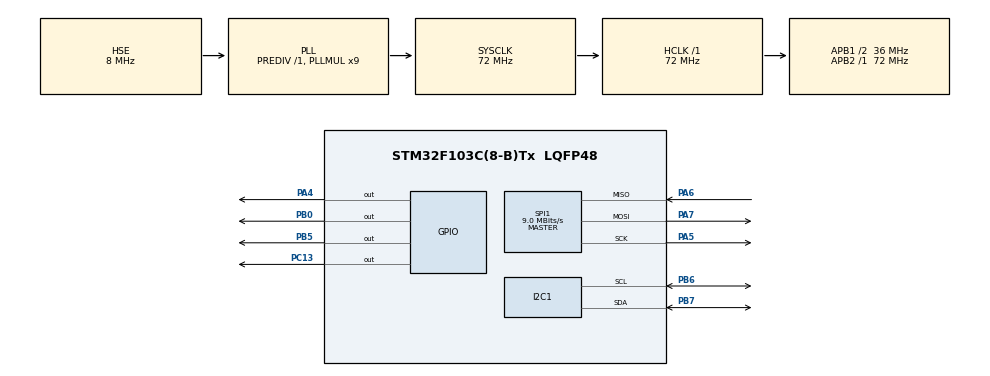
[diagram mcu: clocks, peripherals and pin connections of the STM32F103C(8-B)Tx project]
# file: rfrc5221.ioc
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Mcu.Family=STM32F1
Mcu.Name=STM32F103C(8-B)Tx
Mcu.Package=LQFP48
NVIC.PriorityGroup=NVIC_PRIORITYGROUP_4
PA13.Mode=Serial_Wire
PA13.Signal=SYS_JTMS-SWDIO
PA14.Mode=Serial_Wire
PA14.Signal=SYS_JTCK-SWCLK
PA4.GPIO_Speed=GPIO_SPEED_FREQ_HIGH
PA4.Signal=GPIO_Output
PA5.Mode=Full_Duplex_Master
PA5.Signal=SPI1_SCK
PA6.Mode=Full_Duplex_Master
PA6.Signal=SPI1_MISO
PA7.Mode=Full_Duplex_Master
PA7.Signal=SPI1_MOSI
PB0.GPIO_Speed=GPIO_SPEED_FREQ_HIGH
PB0.Signal=GPIO_Output
PB5.GPIO_Speed=GPIO_SPEED_FREQ_HIGH
PB5.Signal=GPIO_Output
PB6.Mode=I2C
PB6.Signal=I2C1_SCL
PB7.Mode=I2C
PB7.Signal=I2C1_SDA
PC13-TAMPER-RTC.GPIO_Speed=GPIO_SPEED_FREQ_HIGH
PC13-TAMPER-RTC.PinState=GPIO_PIN_SET
PC13-TAMPER-RTC.Signal=GPIO_Output
PD0-OSC_IN.Mode=HSE-External-Oscillator
PD0-OSC_IN.Signal=RCC_OSC_IN
PD1-OSC_OUT.Mode=HSE-External-Oscillator
PD1-OSC_OUT.Signal=RCC_OSC_OUT
ProjectManager.HeapSize=0x200
ProjectManager.StackSize=0x400
ProjectManager.TargetToolchain=STM32CubeIDE
RCC.AHBFreq_Value=72000000
RCC.APB1CLKDivider=RCC_HCLK_DIV2
RCC.APB1Freq_Value=36000000
RCC.APB1TimFreq_Value=72000000
RCC.APB2Freq_Value=72000000
RCC.APB2TimFreq_Value=72000000
RCC.HCLKFreq_Value=72000000
RCC.PLLMUL=RCC_PLL_MUL9
RCC.PLLSourceVirtual=RCC_PLLSOURCE_HSE
RCC.SYSCLKFreq_VALUE=72000000
RCC.SYSCLKSource=RCC_SYSCLKSOURCE_PLLCLK
RCC.USBFreq_Value=72000000
SPI1.BaudRatePrescaler=SPI_BAUDRATEPRESCALER_8
SPI1.CalculateBaudRate=9.0 MBits/s
SPI1.Direction=SPI_DIRECTION_2LINES
SPI1.Mode=SPI_MODE_MASTER
SPI1.VirtualType=VM_MASTER
board=custom

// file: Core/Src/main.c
/* USER CODE BEGIN Header */
/**
  ******************************************************************************
  * @file           : main.c
  * @brief          : Main program body
  ******************************************************************************
  * @attention
  *
  * Copyright (c) 2024 STMicroelectronics.
  * All rights reserved.
  *
  * This software is licensed under terms that can be found in the LICENSE file
  * in the root directory of this software component.
  * If no LICENSE file comes with this software, it is provided AS-IS.
  *
  ******************************************************************************
  */
/* USER CODE END Header */
#include "main.h"

/* USER CODE BEGIN Includes */
#include "rc522.h"
#include "string.h"
#include "i2c-lcd.h"
#include "stdio.h"
/* USER CODE END Includes */

I2C_HandleTypeDef hi2c1;

SPI_HandleTypeDef hspi1;

/* USER CODE BEGIN PV */
uint8_t status;
uint8_t str[MAX_LEN]; // Max_LEN = 16
uint8_t CARDID[5];
uint8_t MYID[5]= {59, 3, 123, 135, 196};
char buffer[16];         // Mảng để lưu chuỗi cho LCD
/* USER CODE END PV */

void SystemClock_Config(void);
static void MX_GPIO_Init(void);
static void MX_I2C1_Init(void);
static void MX_SPI1_Init(void);

int main(void)
{

  /* MCU Configuration--------------------------------------------------------*/

  /* Reset of all peripherals, Initializes the Flash interface and the Systick. */
  HAL_Init();

  /* Configure the system clock */
  SystemClock_Config();

  /* Initialize all configured peripherals */
  MX_GPIO_Init();
  MX_I2C1_Init();
  MX_SPI1_Init();

  /* USER CODE BEGIN 2 */
   lcd_init();
   lcd_send_string("XIN MOI QUET THE  ");
   HAL_Delay(1000);
   //lcd_clear();
   lcd_put_cur(1, 0);
   lcd_send_string(" RFID  ");

  MFRC522_Init();
  /* USER CODE END 2 */

  /* Infinite loop */
  /* USER CODE BEGIN WHILE */
  while (1)
  {

	    status = MFRC522_Request(PICC_REQIDL, str);
	    status = MFRC522_Anticoll(str);
	    memcpy(CARDID, str, 5);
	    HAL_Delay(100);

	    if (status == MI_OK) {
	     if((str[0]==59) && (str[1]==3) && (str[2]==123) && (str[3]==135) && (str[4]==196) )
	     {
	    	 lcd_clear();  // Xóa màn hình LCD trước khi hiển thị UID mới
	    	                lcd_put_cur(0, 0);  // Đặt con trỏ lên dòng 1
	    	                lcd_send_string(" MA THE HOP LE 1");
	    	                lcd_put_cur(1, 0);  // Đặt con trỏ lên dòng 2
	    	                //Chuyển UID thành chuỗi và hiển thị
	    	                //sprintf(buffer, "ID: %02X%02X%02X%02X%02X", CARDID[0], CARDID[1], CARDID[2], CARDID[3], CARDID[4]);
	    	                //lcd_send_string(buffer);
	    	                lcd_send_string("MSSV: 20240000");
	    	                HAL_GPIO_WritePin(GPIOB, GPIO_PIN_5, 1); //On
	    	                HAL_Delay(5000);
	    	                HAL_GPIO_WritePin(GPIOB, GPIO_PIN_5, 0); //Off

	    	                //HAL_GPIO_WritePin(GPIOC,GPIO_PIN_13,0);
	    	                //HAL_Delay(100);
	    	                // Chờ 1 giây trước khi tiếp tục vòng lặp
	    	                HAL_Delay(1000);

	         // HAL_GPIO_WritePin(GPIOC,GPIO_PIN_13,0);
	         // HAL_Delay(100);
	       }
	     else if((str[0]==175) && (str[1]==11) && (str[2]==51) && (str[3]==31) && (str[4]==136) )
	       {
	    	 lcd_clear();  // Xóa màn hình LCD trước khi hiển thị UID mới
	    		    	      lcd_put_cur(0, 0);  // Đặt con trỏ lên dòng 1
	    		    	      lcd_send_string(" MA THE HOP LE 2 ");
	    		    	      lcd_put_cur(1, 0);  // Đặt con trỏ lên dòng 2
	    		    	      // Chuyển UID thành chuỗi và hiển thị
	    		    	      //sprintf(buffer, "ID: %02X%02X%02X%02X%02X", sNum[0], sNum[1], sNum[2], sNum[3], sNum[4]);
	    		    	      lcd_send_string("MSSV: 20240001");

	    		    	      HAL_GPIO_WritePin(GPIOB, GPIO_PIN_5, 1); //On
	    		    	      HAL_Delay(5000);
	    		    	      HAL_GPIO_WritePin(GPIOB, GPIO_PIN_5, 0); //Off
	    		    	      //HAL_GPIO_WritePin(GPIOC,GPIO_PIN_13,0);
	    		    	      //HAL_Delay(100);
	    		    	      // Chờ  1 giây trước khi tiếp tục vòng lặp
	    		    	      HAL_Delay(1000);
	       //HAL_GPIO_WritePin(GPIOC,GPIO_PIN_13,0);
	       //HAL_Delay(2000);
	     }
	     else
	     {   lcd_clear();
	    	 lcd_put_cur(0, 0);  // Đặt con trỏ lên dòng 1
	    	 lcd_send_string("MA THE SAI");
	    	 lcd_put_cur(1, 0);  // Đặt con trỏ lên dòng 2
	    	 lcd_send_string("YEU CAU NHAP LAI");

	    	 HAL_GPIO_TogglePin(GPIOC, GPIO_PIN_13);
	    	 HAL_Delay(2000);

	     }

	    }
    /* USER CODE END WHILE */

  }
}

void SystemClock_Config(void)
{
  RCC_OscInitTypeDef RCC_OscInitStruct = {0};
  RCC_ClkInitTypeDef RCC_ClkInitStruct = {0};

  /** Initializes the RCC Oscillators according to the specified parameters
  * in the RCC_OscInitTypeDef structure.
  */
  RCC_OscInitStruct.OscillatorType = RCC_OSCILLATORTYPE_HSE;
  RCC_OscInitStruct.HSEState = RCC_HSE_ON;
  RCC_OscInitStruct.HSEPredivValue = RCC_HSE_PREDIV_DIV1;
  RCC_OscInitStruct.HSIState = RCC_HSI_ON;
  RCC_OscInitStruct.PLL.PLLState = RCC_PLL_ON;
  RCC_OscInitStruct.PLL.PLLSource = RCC_PLLSOURCE_HSE;
  RCC_OscInitStruct.PLL.PLLMUL = RCC_PLL_MUL9;
  if (HAL_RCC_OscConfig(&RCC_OscInitStruct) != HAL_OK)
  {
    Error_Handler();
  }

  /** Initializes the CPU, AHB and APB buses clocks
  */
  RCC_ClkInitStruct.ClockType = RCC_CLOCKTYPE_HCLK|RCC_CLOCKTYPE_SYSCLK
                              |RCC_CLOCKTYPE_PCLK1|RCC_CLOCKTYPE_PCLK2;
  RCC_ClkInitStruct.SYSCLKSource = RCC_SYSCLKSOURCE_PLLCLK;
  RCC_ClkInitStruct.AHBCLKDivider = RCC_SYSCLK_DIV1;
  RCC_ClkInitStruct.APB1CLKDivider = RCC_HCLK_DIV2;
  RCC_ClkInitStruct.APB2CLKDivider = RCC_HCLK_DIV1;

  if (HAL_RCC_ClockConfig(&RCC_ClkInitStruct, FLASH_LATENCY_2) != HAL_OK)
  {
    Error_Handler();
  }
}

static void MX_I2C1_Init(void)
{

  hi2c1.Instance = I2C1;
  hi2c1.Init.ClockSpeed = 100000;
  hi2c1.Init.DutyCycle = I2C_DUTYCYCLE_2;
  hi2c1.Init.OwnAddress1 = 0;
  hi2c1.Init.AddressingMode = I2C_ADDRESSINGMODE_7BIT;
  hi2c1.Init.DualAddressMode = I2C_DUALADDRESS_DISABLE;
  hi2c1.Init.OwnAddress2 = 0;
  hi2c1.Init.GeneralCallMode = I2C_GENERALCALL_DISABLE;
  hi2c1.Init.NoStretchMode = I2C_NOSTRETCH_DISABLE;
  if (HAL_I2C_Init(&hi2c1) != HAL_OK)
  {
    Error_Handler();
  }

}

static void MX_SPI1_Init(void)
{

  /* SPI1 parameter configuration*/
  hspi1.Instance = SPI1;
  hspi1.Init.Mode = SPI_MODE_MASTER;
  hspi1.Init.Direction = SPI_DIRECTION_2LINES;
  hspi1.Init.DataSize = SPI_DATASIZE_8BIT;
  hspi1.Init.CLKPolarity = SPI_POLARITY_LOW;
  hspi1.Init.CLKPhase = SPI_PHASE_1EDGE;
  hspi1.Init.NSS = SPI_NSS_SOFT;
  hspi1.Init.BaudRatePrescaler = SPI_BAUDRATEPRESCALER_8;
  hspi1.Init.FirstBit = SPI_FIRSTBIT_MSB;
  hspi1.Init.TIMode = SPI_TIMODE_DISABLE;
  hspi1.Init.CRCCalculation = SPI_CRCCALCULATION_DISABLE;
  hspi1.Init.CRCPolynomial = 10;
  if (HAL_SPI_Init(&hspi1) != HAL_OK)
  {
    Error_Handler();
  }

}

static void MX_GPIO_Init(void)
{
  GPIO_InitTypeDef GPIO_InitStruct = {0};

  /* GPIO Ports Clock Enable */
  __HAL_RCC_GPIOC_CLK_ENABLE();
  __HAL_RCC_GPIOD_CLK_ENABLE();
  __HAL_RCC_GPIOA_CLK_ENABLE();
  __HAL_RCC_GPIOB_CLK_ENABLE();

  /*Configure GPIO pin Output Level */
  HAL_GPIO_WritePin(GPIOC, GPIO_PIN_13, GPIO_PIN_SET);

  /*Configure GPIO pin Output Level */
  HAL_GPIO_WritePin(GPIOA, GPIO_PIN_4, GPIO_PIN_RESET);

  /*Configure GPIO pin Output Level */
  HAL_GPIO_WritePin(GPIOB, GPIO_PIN_0|GPIO_PIN_5, GPIO_PIN_RESET);

  /*Configure GPIO pin : PC13 */
  GPIO_InitStruct.Pin = GPIO_PIN_13;
  GPIO_InitStruct.Mode = GPIO_MODE_OUTPUT_PP;
  GPIO_InitStruct.Pull = GPIO_NOPULL;
  GPIO_InitStruct.Speed = GPIO_SPEED_FREQ_HIGH;
  HAL_GPIO_Init(GPIOC, &GPIO_InitStruct);

  /*Configure GPIO pin : PA4 */
  GPIO_InitStruct.Pin = GPIO_PIN_4;
  GPIO_InitStruct.Mode = GPIO_MODE_OUTPUT_PP;
  GPIO_InitStruct.Pull = GPIO_NOPULL;
  GPIO_InitStruct.Speed = GPIO_SPEED_FREQ_HIGH;
  HAL_GPIO_Init(GPIOA, &GPIO_InitStruct);

  /*Configure GPIO pins : PB0 PB5 */
  GPIO_InitStruct.Pin = GPIO_PIN_0|GPIO_PIN_5;
  GPIO_InitStruct.Mode = GPIO_MODE_OUTPUT_PP;
  GPIO_InitStruct.Pull = GPIO_NOPULL;
  GPIO_InitStruct.Speed = GPIO_SPEED_FREQ_HIGH;
  HAL_GPIO_Init(GPIOB, &GPIO_InitStruct);

}

void Error_Handler(void)
{
  __disable_irq();
  while (1)
  {
  }
}
